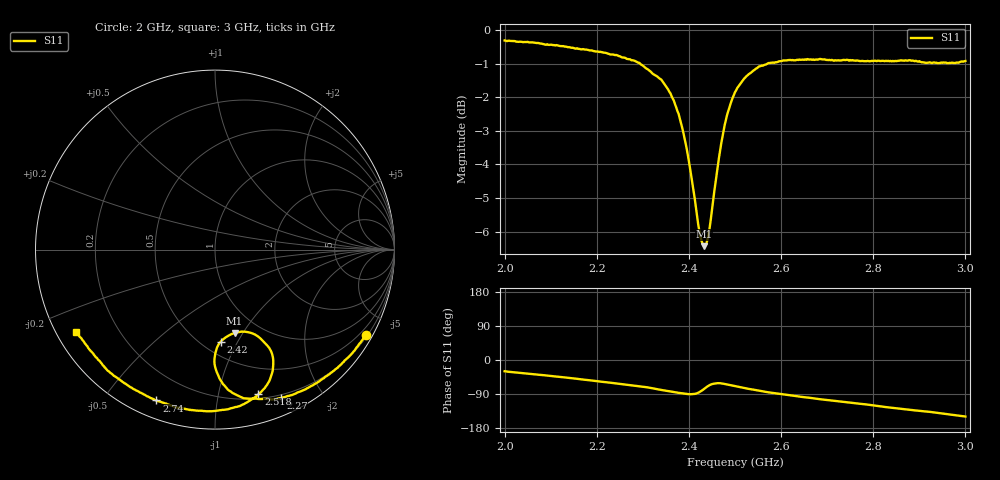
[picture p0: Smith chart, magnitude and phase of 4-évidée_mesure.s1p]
! ZVRE, 3.52
! symbol freq-unit parameter-type data-format keyword impedance-ohm
#  HZ  S  RI  R  50
! freq  reS11  imS11
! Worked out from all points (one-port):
!   401 points, 2 GHz to 3 GHz, reference 50 ohm
!   lowest |S11| = -6.4 dB at 2.433 GHz (marker M1), VSWR 2.82, Z = 38.3 - j46 ohm
!   |S11| at or under -10 dB: nowhere
!   S11 on the Smith chart (normalised r, x): 2 GHz: 0.28, -3.77; 2.27 GHz: 0.17, -1.52; 2.42 GHz: 0.61, -0.85; 2.518 GHz: 0.24, -1.32; 2.74 GHz: 0.08, -0.68; 3 GHz: 0.06, -0.27
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2e9  0.8386 -0.4761
2.07e9  0.7512 -0.5911
2.125e9  0.6668 -0.6707
2.205e9  0.5105 -0.774
2.25e9  0.4154 -0.8138
2.27e9  0.3653 -0.827
2.305e9  0.2858 -0.8315
2.3375e9  0.1678 -0.8287
2.3575e9  0.1058 -0.802
2.375e9  0.0512 -0.7556
2.4e9  -0.00254 -0.6376
2.41e9  0.0022 -0.5761
2.42e9  0.0308 -0.5137
2.4325e9  0.1091 -0.4643
2.445e9  0.2043 -0.4652
2.465e9  0.3112 -0.5638
2.48e9  0.3228 -0.6591
2.5e9  0.2896 -0.7542
2.5175e9  0.2414 -0.8065
2.5475e9  0.154 -0.8633
2.5675e9  0.088 -0.8842
2.625e9  -0.0637 -0.8996
2.6825e9  -0.2049 -0.8812
2.74e9  -0.3267 -0.8405
2.75e9  -0.3491 -0.8316
2.875e9  -0.5911 -0.6787
2.9275e9  -0.6578 -0.6035
3e9  -0.7721 -0.4605
